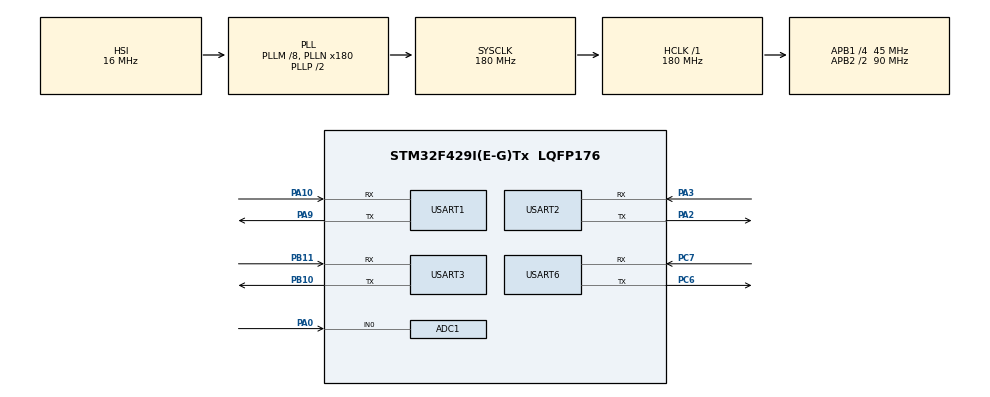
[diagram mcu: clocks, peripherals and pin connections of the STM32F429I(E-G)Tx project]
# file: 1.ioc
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ADC1.Channel-0\#ChannelRegularConversion=ADC_CHANNEL_0
ADC1.NbrOfConversionFlag=1
ADC1.Rank-0\#ChannelRegularConversion=1
ADC1.SamplingTime-0\#ChannelRegularConversion=ADC_SAMPLETIME_3CYCLES
ADC1.master=1
Dma.Request0=USART1_RX
Dma.Request1=USART3_RX
Dma.Request2=USART6_RX
Dma.Request3=USART2_RX
Dma.USART1_RX.0.Direction=DMA_PERIPH_TO_MEMORY
Dma.USART1_RX.0.FIFOMode=DMA_FIFOMODE_DISABLE
Dma.USART1_RX.0.Instance=DMA2_Stream2
Dma.USART1_RX.0.MemDataAlignment=DMA_MDATAALIGN_BYTE
Dma.USART1_RX.0.MemInc=DMA_MINC_ENABLE
Dma.USART1_RX.0.Mode=DMA_CIRCULAR
Dma.USART1_RX.0.PeriphDataAlignment=DMA_PDATAALIGN_BYTE
Dma.USART1_RX.0.PeriphInc=DMA_PINC_DISABLE
Dma.USART1_RX.0.Priority=DMA_PRIORITY_LOW
Dma.USART2_RX.3.Direction=DMA_PERIPH_TO_MEMORY
Dma.USART2_RX.3.FIFOMode=DMA_FIFOMODE_DISABLE
Dma.USART2_RX.3.Instance=DMA1_Stream5
Dma.USART2_RX.3.MemDataAlignment=DMA_MDATAALIGN_BYTE
Dma.USART2_RX.3.MemInc=DMA_MINC_ENABLE
Dma.USART2_RX.3.Mode=DMA_CIRCULAR
Dma.USART2_RX.3.PeriphDataAlignment=DMA_PDATAALIGN_BYTE
Dma.USART2_RX.3.PeriphInc=DMA_PINC_DISABLE
Dma.USART2_RX.3.Priority=DMA_PRIORITY_LOW
Dma.USART3_RX.1.Direction=DMA_PERIPH_TO_MEMORY
Dma.USART3_RX.1.FIFOMode=DMA_FIFOMODE_DISABLE
Dma.USART3_RX.1.Instance=DMA1_Stream1
Dma.USART3_RX.1.MemDataAlignment=DMA_MDATAALIGN_BYTE
Dma.USART3_RX.1.MemInc=DMA_MINC_ENABLE
Dma.USART3_RX.1.Mode=DMA_CIRCULAR
Dma.USART3_RX.1.PeriphDataAlignment=DMA_PDATAALIGN_BYTE
Dma.USART3_RX.1.PeriphInc=DMA_PINC_DISABLE
Dma.USART3_RX.1.Priority=DMA_PRIORITY_LOW
Dma.USART6_RX.2.Direction=DMA_PERIPH_TO_MEMORY
Dma.USART6_RX.2.FIFOMode=DMA_FIFOMODE_DISABLE
Dma.USART6_RX.2.Instance=DMA2_Stream1
Dma.USART6_RX.2.MemDataAlignment=DMA_MDATAALIGN_BYTE
Dma.USART6_RX.2.MemInc=DMA_MINC_ENABLE
Dma.USART6_RX.2.Mode=DMA_CIRCULAR
Dma.USART6_RX.2.PeriphDataAlignment=DMA_PDATAALIGN_BYTE
Dma.USART6_RX.2.PeriphInc=DMA_PINC_DISABLE
Dma.USART6_RX.2.Priority=DMA_PRIORITY_LOW
Mcu.Family=STM32F4
Mcu.Name=STM32F429I(E-G)Tx
Mcu.Package=LQFP176
NVIC.DMA1_Stream1_IRQn=true\:0\:0\:false\:false\:true\:false\:true\:true
NVIC.DMA1_Stream5_IRQn=true\:0\:0\:false\:false\:true\:false\:true\:true
NVIC.DMA2_Stream1_IRQn=true\:0\:0\:false\:false\:true\:false\:true\:true
NVIC.DMA2_Stream2_IRQn=true\:0\:0\:false\:false\:true\:false\:true\:true
NVIC.PriorityGroup=NVIC_PRIORITYGROUP_4
NVIC.USART1_IRQn=true\:0\:0\:false\:false\:true\:true\:true\:true
NVIC.USART2_IRQn=true\:0\:0\:false\:true\:true\:3\:true\:true\:true
NVIC.USART3_IRQn=true\:0\:0\:false\:true\:true\:1\:true\:true\:true
NVIC.USART6_IRQn=true\:0\:0\:false\:true\:true\:2\:true\:true\:true
PA0/WKUP.Signal=ADCx_IN0
PA10.Mode=Asynchronous
PA10.Signal=USART1_RX
PA13.Mode=Serial_Wire
PA13.Signal=SYS_JTMS-SWDIO
PA14.Mode=Serial_Wire
PA14.Signal=SYS_JTCK-SWCLK
PA2.Mode=Asynchronous
PA2.Signal=USART2_TX
PA3.Mode=Asynchronous
PA3.Signal=USART2_RX
PA9.Mode=Asynchronous
PA9.Signal=USART1_TX
PB10.Mode=Asynchronous
PB10.Signal=USART3_TX
PB11.Mode=Asynchronous
PB11.Signal=USART3_RX
PC14/OSC32_IN.Mode=LSE-External-Oscillator
PC14/OSC32_IN.Signal=RCC_OSC32_IN
PC15/OSC32_OUT.Mode=LSE-External-Oscillator
PC15/OSC32_OUT.Signal=RCC_OSC32_OUT
PC6.Mode=Asynchronous
PC6.Signal=USART6_TX
PC7.Mode=Asynchronous
PC7.Signal=USART6_RX
PH0/OSC_IN.Mode=HSE-External-Oscillator
PH0/OSC_IN.Signal=RCC_OSC_IN
PH1/OSC_OUT.Mode=HSE-External-Oscillator
PH1/OSC_OUT.Signal=RCC_OSC_OUT
ProjectManager.HeapSize=0x200
ProjectManager.StackSize=0x400
ProjectManager.TargetToolchain=MDK-ARM V5.32
RCC.48MHZClocksFreq_Value=90000000
RCC.AHBFreq_Value=180000000
RCC.APB1CLKDivider=RCC_HCLK_DIV4
RCC.APB1Freq_Value=45000000
RCC.APB1TimFreq_Value=90000000
RCC.APB2CLKDivider=RCC_HCLK_DIV2
RCC.APB2Freq_Value=90000000
RCC.APB2TimFreq_Value=180000000
RCC.CortexFreq_Value=180000000
RCC.HCLKFreq_Value=180000000
RCC.HSE_VALUE=25000000
RCC.HSI_VALUE=16000000
RCC.PLLM=8
RCC.PLLN=180
RCC.SYSCLKFreq_VALUE=180000000
RCC.SYSCLKSource=RCC_SYSCLKSOURCE_PLLCLK
RCC.VCOOutputFreq_Value=360000000
SH.ADCx_IN0.0=ADC1_IN0,IN0
USART1.VirtualMode=VM_ASYNC
USART2.VirtualMode=VM_ASYNC
USART3.VirtualMode=VM_ASYNC
USART6.VirtualMode=VM_ASYNC
board=custom

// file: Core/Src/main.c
/* USER CODE BEGIN Header */
/**
  ******************************************************************************
  * @file           : main.c
  * @brief          : Main program body
  ******************************************************************************
  * @attention
  *
  * Copyright (c) 2025 STMicroelectronics.
  * All rights reserved.
  *
  * This software is licensed under terms that can be found in the LICENSE file
  * in the root directory of this software component.
  * If no LICENSE file comes with this software, it is provided AS-IS.
  *
  ******************************************************************************
  */
/* USER CODE END Header */
#include "main.h"
#include "adc.h"
#include "dma.h"
#include "usart.h"
#include "gpio.h"

/* USER CODE BEGIN Includes */
#include "string.h"
#include "esp8266.h"
/* USER CODE END Includes */

/* USER CODE BEGIN PV */

char Slove_Transmit_Str2[200];
char buf_onechar[64];
char Slove_Receive_Str[255];

char esp8266_RxBuffer[255];

char slove_str[100];

int car_number = 8888;
int people_animals_number = 10;
int break_number = 9;
int sundries_number = 8;
int device_id = 8;

//int dename=1234;
//double pm=11.11;

char carrier[] = "car";
char plate[] = "A00001";
char Violation_category[] = "highspeed";

double speed = 100.123;
double weight = 100.456;
double temperature = 33.123;
double humidity = 55.334;
double air = 40.555;
double longitude = 125.555;
double latitude = 37.555;
/* USER CODE END PV */

void SystemClock_Config(void);
static void MX_NVIC_Init(void);

int main(void)
{

  /* MCU Configuration--------------------------------------------------------*/

  /* Reset of all peripherals, Initializes the Flash interface and the Systick. */
  HAL_Init();

  /* Configure the system clock */
  SystemClock_Config();

  /* Initialize all configured peripherals */
  MX_GPIO_Init();
  MX_DMA_Init();
  MX_ADC1_Init();
  MX_USART1_UART_Init();
  MX_USART3_UART_Init();
  MX_USART6_UART_Init();
  MX_USART2_UART_Init();

  /* Initialize interrupts */
  MX_NVIC_Init();
  /* USER CODE BEGIN 2 */
	//HAL_UART_Receive_IT(&huart3,slove_str,10);
	__HAL_UART_ENABLE_IT(&huart3, UART_IT_IDLE);
  HAL_UART_Receive_DMA(&huart3, (uint8_t*)Slove_Receive_Str, 255);

		__HAL_UART_ENABLE_IT(&huart2, UART_IT_IDLE);
  HAL_UART_Receive_DMA(&huart2, (uint8_t*)esp8266_RxBuffer, 255);
	char send_message[128];
	//HAL_UART_Transmit(&huart1,"666",3,100);
	//esp_Init();

  /* USER CODE END 2 */

  /* Infinite loop */
  /* USER CODE BEGIN WHILE */
  while (1)
  {
		HAL_UART_Transmit(&huart2,"666",3,100);
		printf("OKKKKK\r\n");
		HAL_Delay(200);
		//Save_data(send_message,send_message);
//		sprintf(send_message,"%s",carrier);
//		Str_Pub_Msgdata("carrier",send_message);00000000000000000000000
//		memset(send_message,0,strlen(send_message));
//
//		sprintf(send_message,"%d",car_number);
//		Num_Pub_Msgdata("car_number",send_message);
//		memset(send_message,0,strlen(send_message));
//
//		sprintf(send_message,"%lf",temperature);
//		Num_Pub_Msgdata("temperature",send_message);
//		memset(send_message,0,strlen(send_message));
		//HAL_UART_Transmit(&huart1,"777",3,100);
		//printf("666");
    /* USER CODE END WHILE */

  }
}

void SystemClock_Config(void)
{
  RCC_OscInitTypeDef RCC_OscInitStruct = {0};
  RCC_ClkInitTypeDef RCC_ClkInitStruct = {0};

  /** Configure the main internal regulator output voltage
  */
  __HAL_RCC_PWR_CLK_ENABLE();
  __HAL_PWR_VOLTAGESCALING_CONFIG(PWR_REGULATOR_VOLTAGE_SCALE1);

  /** Initializes the RCC Oscillators according to the specified parameters
  * in the RCC_OscInitTypeDef structure.
  */
  RCC_OscInitStruct.OscillatorType = RCC_OSCILLATORTYPE_HSI;
  RCC_OscInitStruct.HSIState = RCC_HSI_ON;
  RCC_OscInitStruct.HSICalibrationValue = RCC_HSICALIBRATION_DEFAULT;
  RCC_OscInitStruct.PLL.PLLState = RCC_PLL_ON;
  RCC_OscInitStruct.PLL.PLLSource = RCC_PLLSOURCE_HSI;
  RCC_OscInitStruct.PLL.PLLM = 8;
  RCC_OscInitStruct.PLL.PLLN = 180;
  RCC_OscInitStruct.PLL.PLLP = RCC_PLLP_DIV2;
  RCC_OscInitStruct.PLL.PLLQ = 4;
  if (HAL_RCC_OscConfig(&RCC_OscInitStruct) != HAL_OK)
  {
    Error_Handler();
  }

  /** Activate the Over-Drive mode
  */
  if (HAL_PWREx_EnableOverDrive() != HAL_OK)
  {
    Error_Handler();
  }

  /** Initializes the CPU, AHB and APB buses clocks
  */
  RCC_ClkInitStruct.ClockType = RCC_CLOCKTYPE_HCLK|RCC_CLOCKTYPE_SYSCLK
                              |RCC_CLOCKTYPE_PCLK1|RCC_CLOCKTYPE_PCLK2;
  RCC_ClkInitStruct.SYSCLKSource = RCC_SYSCLKSOURCE_PLLCLK;
  RCC_ClkInitStruct.AHBCLKDivider = RCC_SYSCLK_DIV1;
  RCC_ClkInitStruct.APB1CLKDivider = RCC_HCLK_DIV4;
  RCC_ClkInitStruct.APB2CLKDivider = RCC_HCLK_DIV2;

  if (HAL_RCC_ClockConfig(&RCC_ClkInitStruct, FLASH_LATENCY_5) != HAL_OK)
  {
    Error_Handler();
  }
}

/**
  * @brief NVIC Configuration.
  * @retval None
  */
static void MX_NVIC_Init(void)
{
  /* USART3_IRQn interrupt configuration */
  HAL_NVIC_SetPriority(USART3_IRQn, 0, 0);
  HAL_NVIC_EnableIRQ(USART3_IRQn);
  /* USART6_IRQn interrupt configuration */
  HAL_NVIC_SetPriority(USART6_IRQn, 0, 0);
  HAL_NVIC_EnableIRQ(USART6_IRQn);
  /* USART2_IRQn interrupt configuration */
  HAL_NVIC_SetPriority(USART2_IRQn, 0, 0);
  HAL_NVIC_EnableIRQ(USART2_IRQn);
}

/* USER CODE BEGIN 4 */
//void HAL_UART_RxCpltCallback(UART_HandleTypeDef *huart)
//{
//	if(huart->Instance==USART3)//����Ǵ���2
//	{
//
//		printf(slove_str);
//			HAL_UART_Receive_IT(&huart3,slove_str,10);
//	}
//}
/* USER CODE END 4 */

void Error_Handler(void)
{
  __disable_irq();
  while (1)
  {
  }
}
